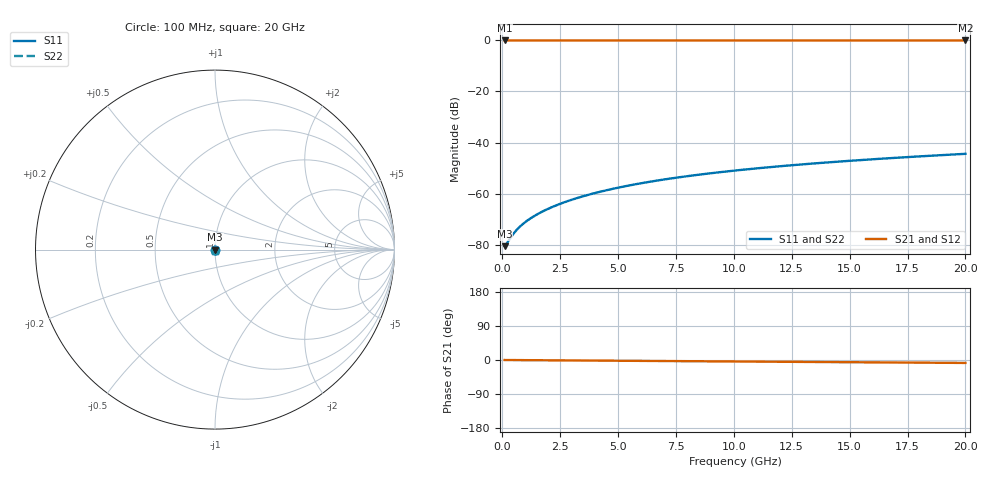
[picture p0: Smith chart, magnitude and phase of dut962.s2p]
! Touchstone file exported from HFSS 2026.1.0
!  File:  C:/ffzhzh/LocalFiles/Ansys_Project_Files/temp_train_TSV_962_1783187552_43440.aedt
!  Generated:  01:53:47 AM Jul  5, 2026
!  Design:  TSV
!  Project:  temp_train_TSV_962_1783187552_43440
! Variables:
!  h_bsmrdl = 2um
!  h_ox = 20um
!  h_rdl = 5um
!  h_sub = 76.88um
!  h_tmrdl = 5um
!  h_tsv = 76.88um
!  h_via = 3um
!  l_bsmrdl = 300um
!  l_sub = 424.42um
!  l_tmrdl = 200um
!  m_sub = 200um
!  pitch = 46.76um
!  r_tsv = 12.21um
!  s_tmrdl = 10um
!  w_bsmrdl = 18um
!  w_sub = 500um
!  w_tmrdl = 12um
!  x_tsv_center1 = 206um
!  x_tsv_center2 = 524um
!  x_tsv_center3 = 736um
!  x_tsv_center4 = 1054um
!  x_tsv_center5 = 1266um
!  x_tsv_center6 = 1584um
# GHz S MA R 50.000000
! Terminal data exported
! Port[1] = TSV1_1_T1
! Port[2] = TSV1_1_T2
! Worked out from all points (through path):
!   200 points, 100 MHz to 20 GHz, reference 50 ohm
!   highest |S21| = 0.00 dB at 100 MHz (marker M1); lowest = 0.0 dB at 20 GHz (marker M2)
!   group delay of S21, straight-line fit = 1.07 ps
!   lowest |S11| = -80.6 dB at 100 MHz (marker M3), VSWR 1.00, Z = 50 + j0.0011 ohm
!   |S11| at or under -10 dB: start of sweep to end of sweep
!   |S22| runs from -80.6 to -44.4 dB; largest |S21 - S12| = 3.1e-15
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0.1  9.326e-05 6.8  0.9999 -0.0  0.9999 -0.0  9.326e-05 6.8
! Gamma 0 0 0 0
! Port Impedance 50 0 50 0
0.2  0.0001065 10.3  0.9999 -0.1  0.9999 -0.1  0.0001065 10.3
0.4  0.0001455 7.2  0.9999 -0.2  0.9999 -0.2  0.0001455 7.2
0.5  0.0001673 3.1  0.9998 -0.2  0.9998 -0.2  0.0001673 3.1
0.7  0.0002116 -6.6  0.9998 -0.3  0.9998 -0.3  0.0002116 -6.6
1  0.000278 -19.8  0.9997 -0.4  0.9997 -0.4  0.000278 -19.8
1.3  0.0003452 -30.3  0.9997 -0.5  0.9997 -0.5  0.0003452 -30.2
1.5  0.0003908 -35.7  0.9997 -0.6  0.9997 -0.6  0.0003908 -35.7
1.8  0.0004606 -42.3  0.9997 -0.7  0.9997 -0.7  0.0004606 -42.3
2.3  0.000581 -50.1  0.9996 -0.9  0.9996 -0.9  0.000581 -50.1
2.9  0.0007318 -56.3  0.9996 -1.1  0.9996 -1.1  0.0007319 -56.3
3.5  0.0008891 -60.6  0.9995 -1.4  0.9995 -1.4  0.0008891 -60.6
4.2  0.00108 -64.2  0.9995 -1.6  0.9995 -1.6  0.00108 -64.2
5  0.001305 -67.3  0.9995 -2.0  0.9995 -2.0  0.001305 -67.3
5.9  0.001566 -70.0  0.9994 -2.3  0.9994 -2.3  0.001566 -70.0
6.8  0.001833 -72.2  0.9994 -2.6  0.9994 -2.6  0.001834 -72.2
8.3  0.002288 -75.2  0.9993 -3.2  0.9993 -3.2  0.002288 -75.2
10.1  0.002843 -78.0  0.9992 -3.9  0.9992 -3.9  0.002843 -78.0
11.7  0.003341 -80.1  0.9992 -4.5  0.9992 -4.5  0.003342 -80.1
13.4  0.003876 -81.9  0.9991 -5.2  0.9991 -5.2  0.003877 -81.9
16.7  0.00493 -84.8  0.999 -6.5  0.999 -6.5  0.00493 -84.8
20  0.006008 -87.2  0.9989 -7.7  0.9989 -7.7  0.006009 -87.2
